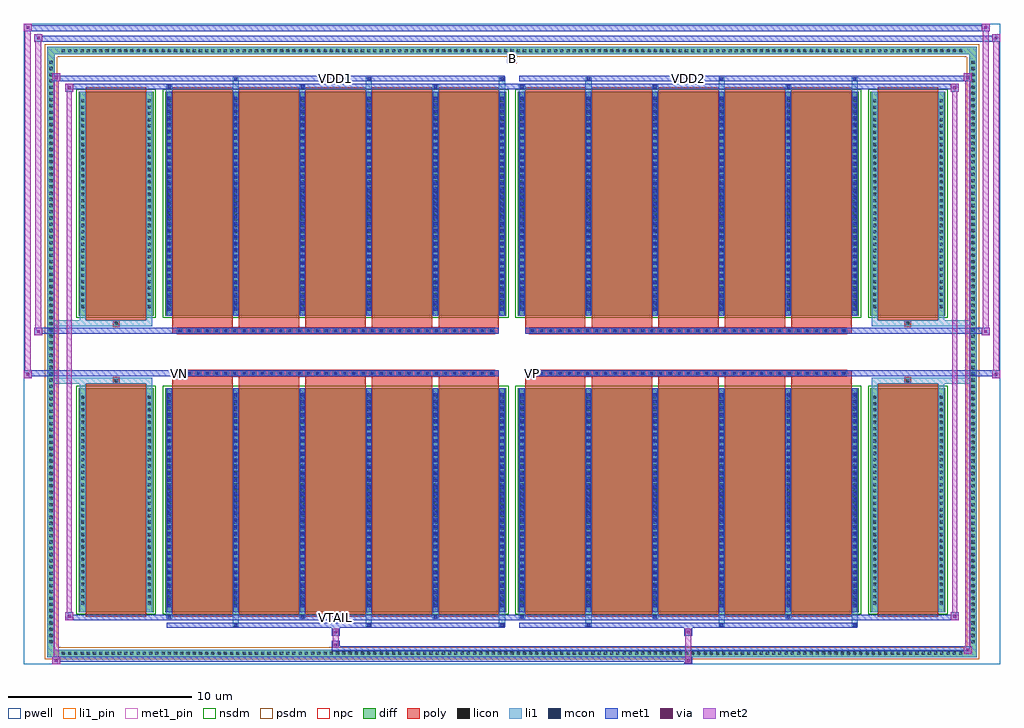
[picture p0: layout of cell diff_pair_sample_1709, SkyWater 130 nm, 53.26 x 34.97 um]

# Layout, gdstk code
import gdstk
lib = gdstk.Library(unit=1e-6, precision=5e-09)
def R(c, l, rs):  # rectangles x0, y0, x1, y1
    for r in rs: c.add(gdstk.rectangle(r[:2], r[2:], *l))
def A(c, l, x, y, w, h, nx, ny, dx, dy):  # array of equal rectangles
    R(c, l, [(x+i*dx, y+j*dy, x+i*dx+w, y+j*dy+h) for i in range(nx) for j in range(ny)])
def P(c, l, *ps):  # polygons
    for p in ps: c.add(gdstk.Polygon(p, *l))
pwell = (64, 44)
diff = (65, 20)
poly = (66, 20)
licon = (66, 44)
li1_pin = (67, 16)
li1 = (67, 20)
mcon = (67, 44)
met1_pin = (68, 16)
met1 = (68, 20)
via = (68, 44)
met2 = (69, 20)
nsdm = (93, 44)
psdm = (94, 20)
npc = (95, 20)

diff_pair_sample_1709 = lib.new_cell('diff_pair_sample_1709')
R(diff_pair_sample_1709, pwell, [(-26.63,-17.05,26.63,17.92), (-23.95,-15.24,-0.01,-0.8), (0.01,-15.24,23.95,-0.8), (-23.95,0.8,-0.01,15.24), (0.01,0.8,23.95,15.24)])
A(diff_pair_sample_1709, diff, -24.685, -16.65, 0.41, 0.41, 145, 2, 0.34, 32.89)
A(diff_pair_sample_1709, diff, -25.36, -16.015, 0.41, 0.41, 1, 94, 0, 0.34)
A(diff_pair_sample_1709, diff, 24.95, -16.015, 0.41, 0.41, 1, 94, 0, 0.34)
R(diff_pair_sample_1709, diff, [(-24.685,-16.65,24.685,-16.24), (-25.36,-16.015,-24.95,16.015), (24.95,-16.015,25.36,16.015), (-23.64,-14.195,-19.56,-1.985), (-18.92,-14.195,-0.32,-1.985), (0.32,-14.195,18.92,-1.985), (19.56,-14.195,23.64,-1.985), (-23.64,1.985,-19.56,14.195), (-18.92,1.985,-0.32,14.195), (0.32,1.985,18.92,14.195), (19.56,1.985,23.64,14.195), (-24.685,16.24,24.685,16.65)])
P(diff_pair_sample_1709, diff, [(25.36,16.65),(-25.36,16.65),(-25.36,-16.24),(-24.95,-16.24),(-24.95,16.24),(24.95,16.24),(24.95,-16.24),(-24.95,-16.24),(-25.36,-16.24),(-25.36,-16.65),(25.36,-16.65)])
A(diff_pair_sample_1709, poly, -18.53, -14.445, 3.3, 12.71, 5, 2, 3.63, 16.18)
A(diff_pair_sample_1709, poly, 0.71, -14.445, 3.3, 12.71, 5, 2, 3.63, 16.18)
A(diff_pair_sample_1709, poly, -18.53, -1.735, 3.3, 0.405, 5, 2, 3.63, 3.065)
A(diff_pair_sample_1709, poly, 0.71, -1.735, 3.3, 0.405, 5, 2, 3.63, 3.065)
A(diff_pair_sample_1709, poly, -18.285, -1.33, 0.33, 0.33, 35, 2, 0.5, 2.33)
A(diff_pair_sample_1709, poly, 0.955, -1.33, 0.33, 0.33, 35, 2, 0.5, 2.33)
R(diff_pair_sample_1709, poly, [(-23.25,-14.445,-19.95,-1.735), (19.95,-14.445,23.25,-1.735), (-21.765,-1.735,-21.435,-1.405), (-21.765,-1.735,-21.435,-1.405), (21.435,-1.735,21.765,-1.405), (21.435,-1.735,21.765,-1.405), (-18.53,-1.33,-0.71,-1), (0.71,-1.33,18.53,-1), (-18.53,1,-0.71,1.33), (0.71,1,18.53,1.33), (-21.765,1.405,-21.435,1.735), (-21.765,1.405,-21.435,1.735), (21.435,1.405,21.765,1.735), (21.435,1.405,21.765,1.735), (-23.25,1.735,-19.95,14.445), (19.95,1.735,23.25,14.445)])
A(diff_pair_sample_1709, licon, -24.565, -16.53, 0.17, 0.17, 145, 2, 0.34, 32.89)
A(diff_pair_sample_1709, licon, -25.24, -15.895, 0.17, 0.17, 1, 94, 0, 0.34)
A(diff_pair_sample_1709, licon, 25.07, -15.895, 0.17, 0.17, 1, 94, 0, 0.34)
A(diff_pair_sample_1709, licon, -23.5, -13.785, 0.17, 0.17, 1, 34, 0, 0.34)
A(diff_pair_sample_1709, licon, -19.87, -13.785, 0.17, 0.17, 1, 34, 0, 0.34)
A(diff_pair_sample_1709, licon, -18.78, -13.785, 0.17, 0.17, 6, 34, 3.63, 0.34)
A(diff_pair_sample_1709, licon, 0.46, -13.785, 0.17, 0.17, 6, 34, 3.63, 0.34)
A(diff_pair_sample_1709, licon, 19.7, -13.785, 0.17, 0.17, 1, 34, 0, 0.34)
A(diff_pair_sample_1709, licon, 23.33, -13.785, 0.17, 0.17, 1, 34, 0, 0.34)
A(diff_pair_sample_1709, licon, -18.205, -1.25, 0.17, 0.17, 35, 2, 0.5, 2.33)
A(diff_pair_sample_1709, licon, 1.035, -1.25, 0.17, 0.17, 35, 2, 0.5, 2.33)
A(diff_pair_sample_1709, licon, -23.5, 2.395, 0.17, 0.17, 1, 34, 0, 0.34)
A(diff_pair_sample_1709, licon, -19.87, 2.395, 0.17, 0.17, 1, 34, 0, 0.34)
A(diff_pair_sample_1709, licon, -18.78, 2.395, 0.17, 0.17, 6, 34, 3.63, 0.34)
A(diff_pair_sample_1709, licon, 0.46, 2.395, 0.17, 0.17, 6, 34, 3.63, 0.34)
A(diff_pair_sample_1709, licon, 19.7, 2.395, 0.17, 0.17, 1, 34, 0, 0.34)
A(diff_pair_sample_1709, licon, 23.33, 2.395, 0.17, 0.17, 1, 34, 0, 0.34)
R(diff_pair_sample_1709, licon, [(-21.685,-1.655,-21.515,-1.485), (21.515,-1.655,21.685,-1.485), (-21.685,1.485,-21.515,1.655), (21.515,1.485,21.685,1.655)])
R(diff_pair_sample_1709, li1_pin, [(-0.25,15.74,0.25,16.24)])
A(diff_pair_sample_1709, li1, -24.645, -16.61, 0.33, 0.33, 145, 2, 0.34, 32.89)
A(diff_pair_sample_1709, li1, -25.32, -15.975, 0.33, 0.33, 1, 94, 0, 0.34)
A(diff_pair_sample_1709, li1, 24.99, -15.975, 0.33, 0.33, 1, 94, 0, 0.34)
A(diff_pair_sample_1709, li1, -15.23, -15, 0.33, 0.805, 3, 2, 7.26, 29.195)
A(diff_pair_sample_1709, li1, -15.15, -15, 0.17, 0.17, 3, 2, 7.26, 29.83)
A(diff_pair_sample_1709, li1, 4.01, -15, 0.33, 0.805, 3, 2, 7.26, 29.195)
A(diff_pair_sample_1709, li1, 4.09, -15, 0.17, 0.17, 3, 2, 7.26, 29.83)
A(diff_pair_sample_1709, li1, -18.86, -14.57, 0.33, 0.375, 3, 2, 7.26, 28.765)
A(diff_pair_sample_1709, li1, -18.78, -14.57, 0.17, 0.17, 3, 2, 7.26, 28.97)
A(diff_pair_sample_1709, li1, 0.38, -14.57, 0.33, 0.375, 3, 2, 7.26, 28.765)
A(diff_pair_sample_1709, li1, 0.46, -14.57, 0.17, 0.17, 3, 2, 7.26, 28.97)
A(diff_pair_sample_1709, li1, -18.86, -14.195, 0.33, 12.21, 6, 2, 3.63, 16.18)
A(diff_pair_sample_1709, li1, 0.38, -14.195, 0.33, 12.21, 6, 2, 3.63, 16.18)
A(diff_pair_sample_1709, li1, -18.78, -13.935, 0.17, 0.17, 6, 33, 3.63, 0.36)
A(diff_pair_sample_1709, li1, -18.78, -13.935, 0.17, 11.69, 6, 2, 3.63, 16.18)
A(diff_pair_sample_1709, li1, 0.46, -13.935, 0.17, 0.17, 6, 33, 3.63, 0.36)
A(diff_pair_sample_1709, li1, 0.46, -13.935, 0.17, 11.69, 6, 2, 3.63, 16.18)
A(diff_pair_sample_1709, li1, -23.58, -13.865, 0.33, 0.33, 1, 34, 0, 0.34)
A(diff_pair_sample_1709, li1, -19.95, -13.865, 0.33, 0.33, 1, 34, 0, 0.34)
A(diff_pair_sample_1709, li1, -18.86, -13.865, 0.33, 0.33, 6, 34, 3.63, 0.34)
A(diff_pair_sample_1709, li1, 0.38, -13.865, 0.33, 0.33, 6, 34, 3.63, 0.34)
A(diff_pair_sample_1709, li1, 19.62, -13.865, 0.33, 0.33, 1, 34, 0, 0.34)
A(diff_pair_sample_1709, li1, 23.25, -13.865, 0.33, 0.33, 1, 34, 0, 0.34)
A(diff_pair_sample_1709, li1, -18.285, -1.33, 0.33, 0.33, 35, 2, 0.5, 2.33)
A(diff_pair_sample_1709, li1, 0.955, -1.33, 0.33, 0.33, 35, 2, 0.5, 2.33)
A(diff_pair_sample_1709, li1, -18.78, 2.245, 0.17, 0.17, 6, 33, 3.63, 0.36)
A(diff_pair_sample_1709, li1, 0.46, 2.245, 0.17, 0.17, 6, 33, 3.63, 0.36)
A(diff_pair_sample_1709, li1, -23.58, 2.315, 0.33, 0.33, 1, 34, 0, 0.34)
A(diff_pair_sample_1709, li1, -19.95, 2.315, 0.33, 0.33, 1, 34, 0, 0.34)
A(diff_pair_sample_1709, li1, -18.86, 2.315, 0.33, 0.33, 6, 34, 3.63, 0.34)
A(diff_pair_sample_1709, li1, 0.38, 2.315, 0.33, 0.33, 6, 34, 3.63, 0.34)
A(diff_pair_sample_1709, li1, 19.62, 2.315, 0.33, 0.33, 1, 34, 0, 0.34)
A(diff_pair_sample_1709, li1, 23.25, 2.315, 0.33, 0.33, 1, 34, 0, 0.34)
R(diff_pair_sample_1709, li1, [(-25.36,-16.65,-24.95,-16.24), (-25.36,-16.65,-24.95,-16.24), (-24.95,-16.65,24.95,-16.24), (24.95,-16.65,25.36,-16.24), (24.95,-16.65,25.36,-16.24), (-25.36,-16.24,-24.95,16.24), (24.95,-16.24,25.36,16.24), (-23.58,-14.195,-23.25,-1.985), (-19.95,-14.195,-19.62,-1.985), (19.62,-14.195,19.95,-1.985), (23.25,-14.195,23.58,-1.985), (-23.58,-1.985,-23.25,-1.405), (-19.95,-1.985,-19.62,-1.405), (19.62,-1.985,19.95,-1.405), (23.25,-1.985,23.58,-1.405), (-25.36,-1.735,-21.765,-1.405), (-23.58,-1.735,-21.765,-1.405), (-21.765,-1.735,-21.435,-1.405), (-21.435,-1.735,-19.62,-1.405), (19.62,-1.735,21.435,-1.405), (21.435,-1.735,21.765,-1.405), (21.435,-1.735,25.36,-1.405), (21.765,-1.735,23.58,-1.405), (-25.36,1.405,-21.765,1.735), (-23.58,1.405,-21.765,1.735), (-23.58,1.405,-23.25,1.985), (-21.765,1.405,-21.435,1.735), (-21.435,1.405,-19.62,1.735), (-19.95,1.405,-19.62,1.985), (19.62,1.405,21.435,1.735), (19.62,1.405,19.95,1.985), (21.435,1.405,21.765,1.735), (21.435,1.405,25.36,1.735), (21.765,1.405,23.58,1.735), (23.25,1.405,23.58,1.985), (-23.58,1.985,-23.25,14.195), (-19.95,1.985,-19.62,14.195), (19.62,1.985,19.95,14.195), (23.25,1.985,23.58,14.195), (-25.36,16.24,-24.95,16.65), (-25.36,16.24,-24.95,16.65), (-24.95,16.24,24.95,16.65), (24.95,16.24,25.36,16.65), (24.95,16.24,25.36,16.65)])
A(diff_pair_sample_1709, mcon, -15.15, -15, 0.17, 0.17, 3, 2, 7.26, 29.83)
A(diff_pair_sample_1709, mcon, 4.09, -15, 0.17, 0.17, 3, 2, 7.26, 29.83)
A(diff_pair_sample_1709, mcon, -18.78, -14.57, 0.17, 0.17, 3, 2, 7.26, 28.97)
A(diff_pair_sample_1709, mcon, 0.46, -14.57, 0.17, 0.17, 3, 2, 7.26, 28.97)
A(diff_pair_sample_1709, mcon, -18.78, -13.935, 0.17, 0.17, 6, 33, 3.63, 0.36)
A(diff_pair_sample_1709, mcon, 0.46, -13.935, 0.17, 0.17, 6, 33, 3.63, 0.36)
A(diff_pair_sample_1709, mcon, -18.205, -1.25, 0.17, 0.17, 35, 2, 0.5, 2.33)
A(diff_pair_sample_1709, mcon, 1.035, -1.25, 0.17, 0.17, 35, 2, 0.5, 2.33)
A(diff_pair_sample_1709, mcon, -18.78, 2.245, 0.17, 0.17, 6, 33, 3.63, 0.36)
A(diff_pair_sample_1709, mcon, 0.46, 2.245, 0.17, 0.17, 6, 33, 3.63, 0.36)
R(diff_pair_sample_1709, met1_pin, [(-9.755,-14.61,-9.485,-14.34), (-18.255,-1.29,-17.985,-1.02), (0.985,-1.29,1.255,-1.02), (-9.755,14.79,-9.485,15.06), (9.485,14.79,9.755,15.06)])
A(diff_pair_sample_1709, met1, -15.21, -15.06, 0.29, 0.29, 3, 2, 7.26, 29.83)
A(diff_pair_sample_1709, met1, 4.03, -15.06, 0.29, 0.29, 3, 2, 7.26, 29.83)
A(diff_pair_sample_1709, met1, -18.84, -14.63, 0.29, 0.29, 3, 2, 7.26, 28.97)
A(diff_pair_sample_1709, met1, 0.4, -14.63, 0.29, 0.29, 3, 2, 7.26, 28.97)
A(diff_pair_sample_1709, met1, -18.84, -14.195, 0.29, 12.21, 6, 2, 3.63, 16.18)
A(diff_pair_sample_1709, met1, 0.4, -14.195, 0.29, 12.21, 6, 2, 3.63, 16.18)
A(diff_pair_sample_1709, met1, -18.84, -13.995, 0.29, 0.29, 6, 33, 3.63, 0.36)
A(diff_pair_sample_1709, met1, 0.4, -13.995, 0.29, 0.29, 6, 33, 3.63, 0.36)
A(diff_pair_sample_1709, met1, -18.265, -1.31, 0.29, 0.29, 35, 2, 0.5, 2.33)
A(diff_pair_sample_1709, met1, 0.975, -1.31, 0.29, 0.29, 35, 2, 0.5, 2.33)
A(diff_pair_sample_1709, met1, -18.84, 2.185, 0.29, 0.29, 6, 33, 3.63, 0.36)
A(diff_pair_sample_1709, met1, 0.4, 2.185, 0.29, 0.29, 6, 33, 3.63, 0.36)
R(diff_pair_sample_1709, met1, [(-25.09,-17.05,-24.66,-16.62), (9.405,-17.05,9.835,-16.62), (-25.09,-16.91,9.835,-16.62), (24.66,-16.48,25.09,-16.05), (-9.835,-16.34,25.09,-16.05), (-9.835,-16.2,-9.405,-15.77), (-9.835,-15.49,-9.405,-15.06), (9.405,-15.49,9.835,-15.06), (-18.84,-15.06,-0.4,-14.77), (0.4,-15.06,18.84,-14.77), (-24.38,-14.63,-23.95,-14.2), (-24.38,-14.63,-18.84,-14.34), (-18.84,-14.63,-0.4,-14.34), (-0.4,-14.63,0.4,-14.34), (0.4,-14.63,18.84,-14.34), (18.84,-14.63,24.38,-14.34), (23.95,-14.63,24.38,-14.2), (-26.63,-1.43,-26.2,-1), (26.2,-1.43,26.63,-1), (-26.63,-1.33,-0.71,-1), (-18.53,-1.33,-0.71,-1), (0.71,-1.33,18.53,-1), (0.71,-1.33,26.63,-1), (-26.06,0.9,-25.63,1.33), (25.63,0.9,26.06,1.33), (-26.06,1,-18.53,1.33), (-18.53,1,-0.71,1.33), (0.71,1,18.53,1.33), (18.53,1,26.06,1.33), (-24.38,14.2,-23.95,14.63), (23.95,14.2,24.38,14.63), (-24.38,14.34,-18.84,14.63), (-18.84,14.34,-0.4,14.63), (-0.4,14.34,0.4,14.63), (0.4,14.34,18.84,14.63), (18.84,14.34,24.38,14.63), (-25.09,14.77,-24.66,15.2), (-25.09,14.77,-18.84,15.06), (-18.84,14.77,-0.4,15.06), (0.4,14.77,18.84,15.06), (18.84,14.77,25.09,15.06), (24.66,14.77,25.09,15.2), (-26.06,16.92,-25.63,17.35), (-26.06,16.92,-23.95,17.25), (-23.95,16.92,23.95,17.25), (23.95,16.92,26.63,17.25), (26.2,16.92,26.63,17.35), (-26.63,17.49,-26.2,17.92), (-26.63,17.49,-23.95,17.82), (-23.95,17.49,23.95,17.82), (23.95,17.49,26.06,17.82), (25.63,17.49,26.06,17.92)])
R(diff_pair_sample_1709, via, [(-24.95,-16.91,-24.8,-16.76), (9.545,-16.91,9.695,-16.76), (24.8,-16.34,24.95,-16.19), (-9.695,-16.06,-9.545,-15.91), (-9.695,-15.35,-9.545,-15.2), (9.545,-15.35,9.695,-15.2), (-24.24,-14.49,-24.09,-14.34), (24.09,-14.49,24.24,-14.34), (-26.49,-1.29,-26.34,-1.14), (26.34,-1.29,26.49,-1.14), (-25.92,1.04,-25.77,1.19), (25.77,1.04,25.92,1.19), (-24.24,14.34,-24.09,14.49), (24.09,14.34,24.24,14.49), (-24.95,14.91,-24.8,15.06), (24.8,14.91,24.95,15.06), (-25.92,17.06,-25.77,17.21), (26.34,17.06,26.49,17.21), (-26.49,17.63,-26.34,17.78), (25.77,17.63,25.92,17.78)])
R(diff_pair_sample_1709, met2, [(-25.09,-17.05,-24.66,-16.62), (-25.02,-17.05,-24.73,15.2), (-24.73,-17.05,-24.66,-16.62), (-25.04,-17,-24.71,-16.67), (9.455,-17,9.785,-16.67), (9.455,-16.67,9.785,-15.44), (24.66,-16.48,25.09,-16.05), (24.73,-16.48,25.02,15.2), (25.02,-16.48,25.09,-16.05), (24.71,-16.43,25.04,-16.1), (-9.785,-16.15,-9.455,-15.82), (-9.785,-15.82,-9.455,-15.44), (-9.785,-15.44,-9.455,-15.11), (9.455,-15.44,9.785,-15.11), (-24.38,-14.63,-23.95,-14.2), (-24.31,-14.63,-24.02,14.63), (-24.02,-14.63,-23.95,-14.2), (23.95,-14.63,24.38,-14.2), (24.02,-14.63,24.31,14.63), (24.31,-14.63,24.38,-14.2), (-24.33,-14.58,-24,-14.25), (24,-14.58,24.33,-14.25), (-26.63,-1.43,-26.2,-1), (-26.58,-1.43,-26.25,17.92), (-26.25,-1.43,-26.2,-1), (26.2,-1.43,26.63,-1), (26.25,-1.43,26.58,17.35), (26.58,-1.43,26.63,-1), (-26.58,-1.38,-26.25,-1.05), (26.25,-1.38,26.58,-1.05), (-26.06,0.9,-25.63,1.33), (-26.01,0.9,-25.68,17.35), (-25.68,0.9,-25.63,1.33), (25.63,0.9,26.06,1.33), (25.68,0.9,26.01,17.92), (26.01,0.9,26.06,1.33), (-26.01,0.95,-25.68,1.28), (25.68,0.95,26.01,1.28), (-24.38,14.2,-23.95,14.63), (-24.02,14.2,-23.95,14.63), (23.95,14.2,24.38,14.63), (24.31,14.2,24.38,14.63), (-24.33,14.25,-24,14.58), (24,14.25,24.33,14.58), (-25.09,14.77,-24.66,15.2), (-24.73,14.77,-24.66,15.2), (24.66,14.77,25.09,15.2), (25.02,14.77,25.09,15.2), (-25.04,14.82,-24.71,15.15), (24.71,14.82,25.04,15.15), (-26.06,16.92,-25.63,17.35), (-25.68,16.92,-25.63,17.35), (26.2,16.92,26.63,17.35), (26.58,16.92,26.63,17.35), (-26.01,16.97,-25.68,17.3), (26.25,16.97,26.58,17.3), (-26.63,17.49,-26.2,17.92), (-26.25,17.49,-26.2,17.92), (25.63,17.49,26.06,17.92), (26.01,17.49,26.06,17.92), (-26.58,17.54,-26.25,17.87), (25.68,17.54,26.01,17.87)])
R(diff_pair_sample_1709, nsdm, [(-23.77,-14.325,-19.43,-1.855), (-19.05,-14.325,-0.19,-1.855), (0.19,-14.325,19.05,-1.855), (19.43,-14.325,23.77,-1.855), (-23.77,1.855,-19.43,14.325), (-19.05,1.855,-0.19,14.325), (0.19,1.855,19.05,14.325), (19.43,1.855,23.77,14.325)])
P(diff_pair_sample_1709, psdm, [(25.49,16.78),(-25.49,16.78),(-25.49,-16.11),(-24.82,-16.11),(-24.82,16.11),(24.82,16.11),(24.82,-16.11),(-24.82,-16.11),(-25.49,-16.11),(-25.49,-16.78),(25.49,-16.78)])
A(diff_pair_sample_1709, npc, -18.305, -1.35, 0.37, 0.37, 35, 2, 0.5, 2.33)
A(diff_pair_sample_1709, npc, 0.935, -1.35, 0.37, 0.37, 35, 2, 0.5, 2.33)
R(diff_pair_sample_1709, npc, [(-21.785,-1.755,-21.415,-1.385), (21.415,-1.755,21.785,-1.385), (-18.305,-1.35,-17.435,-0.98), (-18.305,-1.35,-17.435,-0.98), (-17.805,-1.35,-16.935,-0.98), (-17.805,-1.35,-16.935,-0.98), (-17.305,-1.35,-16.435,-0.98), (-17.305,-1.35,-16.435,-0.98), (-16.805,-1.35,-15.935,-0.98), (-16.805,-1.35,-15.935,-0.98), (-16.305,-1.35,-15.435,-0.98), (-16.305,-1.35,-15.435,-0.98), (-15.805,-1.35,-14.935,-0.98), (-15.805,-1.35,-14.935,-0.98), (-15.305,-1.35,-14.435,-0.98), (-15.305,-1.35,-14.435,-0.98), (-14.805,-1.35,-13.935,-0.98), (-14.805,-1.35,-13.935,-0.98), (-14.305,-1.35,-13.435,-0.98), (-14.305,-1.35,-13.435,-0.98), (-13.805,-1.35,-12.935,-0.98), (-13.805,-1.35,-12.935,-0.98), (-13.305,-1.35,-12.435,-0.98), (-13.305,-1.35,-12.435,-0.98), (-12.805,-1.35,-11.935,-0.98), (-12.805,-1.35,-11.935,-0.98), (-12.305,-1.35,-11.435,-0.98), (-12.305,-1.35,-11.435,-0.98), (-11.805,-1.35,-10.935,-0.98), (-11.805,-1.35,-10.935,-0.98), (-11.305,-1.35,-10.435,-0.98), (-11.305,-1.35,-10.435,-0.98), (-10.805,-1.35,-9.935,-0.98), (-10.805,-1.35,-9.935,-0.98), (-10.305,-1.35,-9.435,-0.98), (-10.305,-1.35,-9.435,-0.98), (-9.805,-1.35,-8.935,-0.98), (-9.805,-1.35,-8.935,-0.98), (-9.305,-1.35,-8.435,-0.98), (-9.305,-1.35,-8.435,-0.98), (-8.805,-1.35,-7.935,-0.98), (-8.805,-1.35,-7.935,-0.98), (-8.305,-1.35,-7.435,-0.98), (-8.305,-1.35,-7.435,-0.98), (-7.805,-1.35,-6.935,-0.98), (-7.805,-1.35,-6.935,-0.98), (-7.305,-1.35,-6.435,-0.98), (-7.305,-1.35,-6.435,-0.98), (-6.805,-1.35,-5.935,-0.98), (-6.805,-1.35,-5.935,-0.98), (-6.305,-1.35,-5.435,-0.98), (-6.305,-1.35,-5.435,-0.98), (-5.805,-1.35,-4.935,-0.98), (-5.805,-1.35,-4.935,-0.98), (-5.305,-1.35,-4.435,-0.98), (-5.305,-1.35,-4.435,-0.98), (-4.805,-1.35,-3.935,-0.98), (-4.805,-1.35,-3.935,-0.98), (-4.305,-1.35,-3.435,-0.98), (-4.305,-1.35,-3.435,-0.98), (-3.805,-1.35,-2.935,-0.98), (-3.805,-1.35,-2.935,-0.98), (-3.305,-1.35,-2.435,-0.98), (-3.305,-1.35,-2.435,-0.98), (-2.805,-1.35,-1.935,-0.98), (-2.805,-1.35,-1.935,-0.98), (-2.305,-1.35,-1.435,-0.98), (-2.305,-1.35,-1.435,-0.98), (-1.805,-1.35,-0.935,-0.98), (-1.805,-1.35,-0.935,-0.98), (0.935,-1.35,1.805,-0.98), (0.935,-1.35,1.805,-0.98), (1.435,-1.35,2.305,-0.98), (1.435,-1.35,2.305,-0.98), (1.935,-1.35,2.805,-0.98), (1.935,-1.35,2.805,-0.98), (2.435,-1.35,3.305,-0.98), (2.435,-1.35,3.305,-0.98), (2.935,-1.35,3.805,-0.98), (2.935,-1.35,3.805,-0.98), (3.435,-1.35,4.305,-0.98), (3.435,-1.35,4.305,-0.98), (3.935,-1.35,4.805,-0.98), (3.935,-1.35,4.805,-0.98), (4.435,-1.35,5.305,-0.98), (4.435,-1.35,5.305,-0.98), (4.935,-1.35,5.805,-0.98), (4.935,-1.35,5.805,-0.98), (5.435,-1.35,6.305,-0.98), (5.435,-1.35,6.305,-0.98), (5.935,-1.35,6.805,-0.98), (5.935,-1.35,6.805,-0.98), (6.435,-1.35,7.305,-0.98), (6.435,-1.35,7.305,-0.98), (6.935,-1.35,7.805,-0.98), (6.935,-1.35,7.805,-0.98), (7.435,-1.35,8.305,-0.98), (7.435,-1.35,8.305,-0.98), (7.935,-1.35,8.805,-0.98), (7.935,-1.35,8.805,-0.98), (8.435,-1.35,9.305,-0.98), (8.435,-1.35,9.305,-0.98), (8.935,-1.35,9.805,-0.98), (8.935,-1.35,9.805,-0.98), (9.435,-1.35,10.305,-0.98), (9.435,-1.35,10.305,-0.98), (9.935,-1.35,10.805,-0.98), (9.935,-1.35,10.805,-0.98), (10.435,-1.35,11.305,-0.98), (10.435,-1.35,11.305,-0.98), (10.935,-1.35,11.805,-0.98), (10.935,-1.35,11.805,-0.98), (11.435,-1.35,12.305,-0.98), (11.435,-1.35,12.305,-0.98), (11.935,-1.35,12.805,-0.98), (11.935,-1.35,12.805,-0.98), (12.435,-1.35,13.305,-0.98), (12.435,-1.35,13.305,-0.98), (12.935,-1.35,13.805,-0.98), (12.935,-1.35,13.805,-0.98), (13.435,-1.35,14.305,-0.98), (13.435,-1.35,14.305,-0.98), (13.935,-1.35,14.805,-0.98), (13.935,-1.35,14.805,-0.98), (14.435,-1.35,15.305,-0.98), (14.435,-1.35,15.305,-0.98), (14.935,-1.35,15.805,-0.98), (14.935,-1.35,15.805,-0.98), (15.435,-1.35,16.305,-0.98), (15.435,-1.35,16.305,-0.98), (15.935,-1.35,16.805,-0.98), (15.935,-1.35,16.805,-0.98), (16.435,-1.35,17.305,-0.98), (16.435,-1.35,17.305,-0.98), (16.935,-1.35,17.805,-0.98), (16.935,-1.35,17.805,-0.98), (17.435,-1.35,18.305,-0.98), (17.435,-1.35,18.305,-0.98), (-18.305,0.98,-17.435,1.35), (-18.305,0.98,-17.435,1.35), (-17.805,0.98,-16.935,1.35), (-17.805,0.98,-16.935,1.35), (-17.305,0.98,-16.435,1.35), (-17.305,0.98,-16.435,1.35), (-16.805,0.98,-15.935,1.35), (-16.805,0.98,-15.935,1.35), (-16.305,0.98,-15.435,1.35), (-16.305,0.98,-15.435,1.35), (-15.805,0.98,-14.935,1.35), (-15.805,0.98,-14.935,1.35), (-15.305,0.98,-14.435,1.35), (-15.305,0.98,-14.435,1.35), (-14.805,0.98,-13.935,1.35), (-14.805,0.98,-13.935,1.35), (-14.305,0.98,-13.435,1.35), (-14.305,0.98,-13.435,1.35), (-13.805,0.98,-12.935,1.35), (-13.805,0.98,-12.935,1.35), (-13.305,0.98,-12.435,1.35), (-13.305,0.98,-12.435,1.35), (-12.805,0.98,-11.935,1.35), (-12.805,0.98,-11.935,1.35), (-12.305,0.98,-11.435,1.35), (-12.305,0.98,-11.435,1.35), (-11.805,0.98,-10.935,1.35), (-11.805,0.98,-10.935,1.35), (-11.305,0.98,-10.435,1.35), (-11.305,0.98,-10.435,1.35), (-10.805,0.98,-9.935,1.35), (-10.805,0.98,-9.935,1.35), (-10.305,0.98,-9.435,1.35), (-10.305,0.98,-9.435,1.35), (-9.805,0.98,-8.935,1.35), (-9.805,0.98,-8.935,1.35), (-9.305,0.98,-8.435,1.35), (-9.305,0.98,-8.435,1.35), (-8.805,0.98,-7.935,1.35), (-8.805,0.98,-7.935,1.35), (-8.305,0.98,-7.435,1.35), (-8.305,0.98,-7.435,1.35), (-7.805,0.98,-6.935,1.35), (-7.805,0.98,-6.935,1.35), (-7.305,0.98,-6.435,1.35), (-7.305,0.98,-6.435,1.35), (-6.805,0.98,-5.935,1.35), (-6.805,0.98,-5.935,1.35), (-6.305,0.98,-5.435,1.35), (-6.305,0.98,-5.435,1.35), (-5.805,0.98,-4.935,1.35), (-5.805,0.98,-4.935,1.35), (-5.305,0.98,-4.435,1.35), (-5.305,0.98,-4.435,1.35), (-4.805,0.98,-3.935,1.35), (-4.805,0.98,-3.935,1.35), (-4.305,0.98,-3.435,1.35), (-4.305,0.98,-3.435,1.35), (-3.805,0.98,-2.935,1.35), (-3.805,0.98,-2.935,1.35), (-3.305,0.98,-2.435,1.35), (-3.305,0.98,-2.435,1.35), (-2.805,0.98,-1.935,1.35), (-2.805,0.98,-1.935,1.35), (-2.305,0.98,-1.435,1.35), (-2.305,0.98,-1.435,1.35), (-1.805,0.98,-0.935,1.35), (-1.805,0.98,-0.935,1.35), (0.935,0.98,1.805,1.35), (0.935,0.98,1.805,1.35), (1.435,0.98,2.305,1.35), (1.435,0.98,2.305,1.35), (1.935,0.98,2.805,1.35), (1.935,0.98,2.805,1.35), (2.435,0.98,3.305,1.35), (2.435,0.98,3.305,1.35), (2.935,0.98,3.805,1.35), (2.935,0.98,3.805,1.35), (3.435,0.98,4.305,1.35), (3.435,0.98,4.305,1.35), (3.935,0.98,4.805,1.35), (3.935,0.98,4.805,1.35), (4.435,0.98,5.305,1.35), (4.435,0.98,5.305,1.35), (4.935,0.98,5.805,1.35), (4.935,0.98,5.805,1.35), (5.435,0.98,6.305,1.35), (5.435,0.98,6.305,1.35), (5.935,0.98,6.805,1.35), (5.935,0.98,6.805,1.35), (6.435,0.98,7.305,1.35), (6.435,0.98,7.305,1.35), (6.935,0.98,7.805,1.35), (6.935,0.98,7.805,1.35), (7.435,0.98,8.305,1.35), (7.435,0.98,8.305,1.35), (7.935,0.98,8.805,1.35), (7.935,0.98,8.805,1.35), (8.435,0.98,9.305,1.35), (8.435,0.98,9.305,1.35), (8.935,0.98,9.805,1.35), (8.935,0.98,9.805,1.35), (9.435,0.98,10.305,1.35), (9.435,0.98,10.305,1.35), (9.935,0.98,10.805,1.35), (9.935,0.98,10.805,1.35), (10.435,0.98,11.305,1.35), (10.435,0.98,11.305,1.35), (10.935,0.98,11.805,1.35), (10.935,0.98,11.805,1.35), (11.435,0.98,12.305,1.35), (11.435,0.98,12.305,1.35), (11.935,0.98,12.805,1.35), (11.935,0.98,12.805,1.35), (12.435,0.98,13.305,1.35), (12.435,0.98,13.305,1.35), (12.935,0.98,13.805,1.35), (12.935,0.98,13.805,1.35), (13.435,0.98,14.305,1.35), (13.435,0.98,14.305,1.35), (13.935,0.98,14.805,1.35), (13.935,0.98,14.805,1.35), (14.435,0.98,15.305,1.35), (14.435,0.98,15.305,1.35), (14.935,0.98,15.805,1.35), (14.935,0.98,15.805,1.35), (15.435,0.98,16.305,1.35), (15.435,0.98,16.305,1.35), (15.935,0.98,16.805,1.35), (15.935,0.98,16.805,1.35), (16.435,0.98,17.305,1.35), (16.435,0.98,17.305,1.35), (16.935,0.98,17.805,1.35), (16.935,0.98,17.805,1.35), (17.435,0.98,18.305,1.35), (17.435,0.98,18.305,1.35), (-21.785,1.385,-21.415,1.755), (21.415,1.385,21.785,1.755)])
diff_pair_sample_1709.add(gdstk.Label('VTAIL', (-9.62,-14.475), layer=68, texttype=5))
diff_pair_sample_1709.add(gdstk.Label('VN', (-18.12,-1.155), layer=68, texttype=5))
diff_pair_sample_1709.add(gdstk.Label('VP', (1.12,-1.155), layer=68, texttype=5))
diff_pair_sample_1709.add(gdstk.Label('B', (0,15.99), layer=67, texttype=5))
diff_pair_sample_1709.add(gdstk.Label('VDD2', (9.62,14.925), layer=68, texttype=5))
diff_pair_sample_1709.add(gdstk.Label('VDD1', (-9.62,14.925), layer=68, texttype=5))

lib.write_gds('diff_pair_sample_1709.gds')
